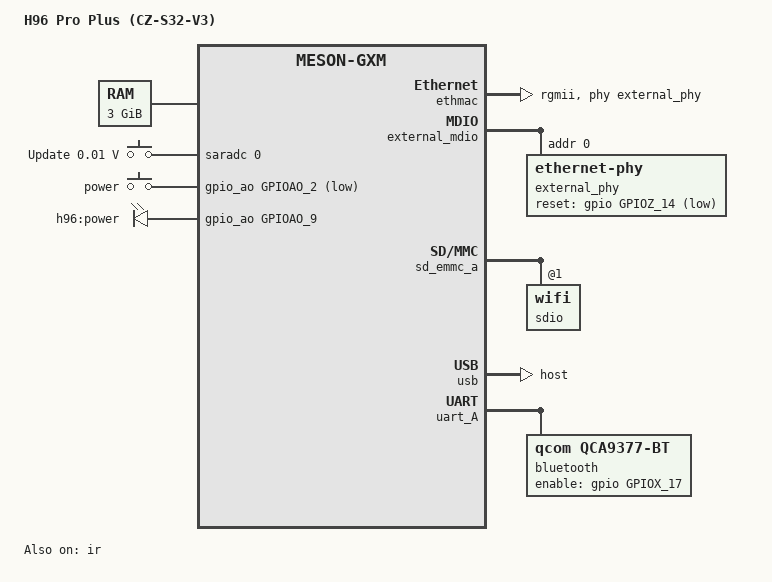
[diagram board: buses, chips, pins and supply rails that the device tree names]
// SPDX-License-Identifier: (GPL-2.0+ OR MIT)
/*
 * H96 Pro Plus (плата CZ-S32-V3), Amlogic S912 / Meson GXM
 *
 * ⚠️ ЧЕРНОВИК — Milestone 3. НЕ ПРОВЕРЕН НА ЖЕЛЕЗЕ.
 *
 * ┌────────────────────────────────────────────────────────────────────────┐
 * │ ⚠️ БАЗА — q200, НЕ q201, хотя vendor называет плату «q201»              │
 * │                                                                        │
 * │ Multi-DTB установленной прошивки помечает варианты как gxm/q201/{1,2,3}g│
 * │ — казалось бы, брать за основу надо mainline meson-gxm-q201.dts. Но там│
 * │ прямым текстом сказано «Q201 has only internal PHY port», и узел такой:│
 * │                                                                        │
 * │     &ethmac { phy-mode = "rmii"; phy-handle = <&internal_phy>; };      │
 * │                                                                        │
 * │ То есть mainline-овский q201 — это плата со ВНУТРЕННИМ 100-мегабитным  │
 * │ PHY. У нас же физически распаян внешний RTL8211F (видно на фото).      │
 * │                                                                        │
 * │ ✅ ЗАКРЫТО 2026-08-16 по DTB, вынутому из раздела `reserved` самого     │
 * │ устройства: во всех трёх вариантах DDR стоит                           │
 * │     phy-mode = "rgmii";  internal_phy = <0x00>;                        │
 * │     pinctrl-names = "external_eth_pins";                               │
 * │ Имя «q201» у vendor — просто ярлык платформы, к разводке PHY отношения │
 * │ не имеющий.                                                            │
 * │                                                                        │
 * │ Возьми мы q201 за основу — получили бы 100 Мбит вместо гигабита.       │
 * │ Поэтому база именно q200, и это осознанный выбор, а не невнимательность│
 * └────────────────────────────────────────────────────────────────────────┘
 *
 * Совпадения с q200, подтверждённые по фотографиям (см. docs/hardware.md)
 * и по стоковому DTS:
 *
 *   - Ethernet PHY Realtek RTL8211F  → в q200.dts уже настроен именно он
 *   - Wi-Fi по SDIO на sd_emmc_a     → у нас модуль Fn-Link 8223A-SR
 *   - eMMC на sd_emmc_c              → Samsung KLMAG2GEAC-B001, 16 GB
 *   - SD-карта на sd_emmc_b          → полноразмерный слот есть
 *   - HDMI, CVBS (AV), S/PDIF, IR    → все разъёмы на плате присутствуют
 *
 * КАЖДОЕ значение ниже, помеченное TODO, обязано быть сверено со стоковым
 * DTS (dt/stock.dts), снятым с устройства на Milestone 1. Мастер-инструкция
 * §5 прямо запрещает сочинять device tree до разбора оригинального.
 */

/dts-v1/;

#include <dt-bindings/input/input.h>

#include "meson-gxm.dtsi"
#include "meson-gx-p23x-q20x.dtsi"

/ {
	compatible = "h96,pro-plus", "amlogic,s912", "amlogic,meson-gxm";
	model = "H96 Pro Plus (CZ-S32-V3)";

	/* h96 05.09.2026: глубокий сон-в-RAM (meson_gx_pm драйвер) */
	meson_gx_pm: pm {
		compatible = "amlogic,meson-gx-pm";
	};

	/*
	 * ✅ ПОДТВЕРЖДЕНО стоковым DTS (2026-08-16, до подключения устройства).
	 *
	 * Прошивка Франкенштейн содержит multi-DTB с тремя вариантами —
	 * gxm/q201/1g, /2g и /3g. В варианте 3g:
	 *
	 *     linux,usable-memory = <0x00 0x100000 0x00 0xbff00000>;
	 *
	 * то есть 0xbff00000 = 3 070 MiB, начиная с 1 MiB. Тогда это выглядело
	 * подтверждением наклейки «CZ 3G+16G» — но загрузка (M3) показала
	 * обратное: реальной памяти 2 GiB, «3g»-вариант просто лежит в
	 * multi-DTB про запас. Исходное ТЗ с его «2 GB» было право.
	 *
	 * Здесь оставлен полный диапазон 0xC0000000: mainline рассчитывает
	 * зарезервированные области сам через reserved-memory, а сток отрезает
	 * первый мегабайт вручную.
	 *
	 * ⚠️ Поправка по факту загрузки (M3): физически на плате 2 GiB — и сток,
	 * и наше ядро видят Memory: .../2092032K. Вариант «3g» в прошивке
	 * Франкенштейна описывает другую комплектацию платы. Узел не трогаем:
	 * U-Boot при загрузке подставляет реальный размер сам.
	 */
	memory@0 {
		device_type = "memory";
		reg = <0x0 0x0 0x0 0xC0000000>;	/* U-Boot урежет до реальных 2 GiB */
	};

	/*
	 * CMA 512 MiB вместо 256 MiB из meson-gx.dtsi.
	 *
	 * Прогон 12 (2026-08-17): с 256 MiB 4K-декодирование падало на
	 * STREAMON(CAPTURE) — `dma alloc of size 8323072 failed` (DPB 16+2
	 * буферов NV12M по 12,45 MiB + рабочие буферы + фрагментация).
	 * 384 MiB хватило 8-битному 4K (прогоны 13-24), но 10-битный HEVC
	 * 4K (сжатые опорные кадры FBC поверх NV12M) снова упёрся (прогон
	 * 24: WARN на streamon при «свободных» 366 МБ — фрагментация).
	 * 512 MiB: CMA-страницы переиспользуются movable-аллокациями, для
	 * Android это не мёртвый груз.
	 */
	reserved-memory {
		/*
		 * ramoops — предсмертный лог ядра без UART. Регион ТОТ ЖЕ, что
		 * резервирует сток (0x7300000, 1 MiB, сразу за secmon_alt):
		 * после паники нашего ядра сток монтирует /sys/fs/pstore и
		 * отдаёт console-ramoops прошлой сессии. Размеры записей — как
		 * у стока (record 0x8000, console 0x4000), иначе регион
		 * прочитается мусором.
		 */
		ramoops@7300000 {
			compatible = "ramoops";
			reg = <0x0 0x7300000 0x0 0x100000>;
			record-size = <0x8000>;
			console-size = <0x4000>;
			pmsg-size = <0x4000>;
		};

		linux,cma {
			compatible = "shared-dma-pool";
			reusable;
			size = <0x0 0x40000000>;
			alignment = <0x0 0x400000>;
			linux,cma-default;
		};
	};

	/*
	 * Кнопка на плате (жёлтая тактовая у AV/DC). На Q200 она заведена через
	 * SARADC как "Update" — вход в upgrade mode.
	 * TODO(M1): проверить, та же ли схема у нас, и не спрятана ли кнопка
	 * внутри AV-джека (типично для H96 Pro+, см. docs/recovery.md §3).
	 */
	adc-keys {
		compatible = "adc-keys";
		io-channels = <&saradc 0>;
		io-channel-names = "buttons";
		keyup-threshold-microvolt = <1710000>;

		button-function {
			label = "Update";
			linux,code = <KEY_VENDOR>;
			press-threshold-microvolt = <10000>;
		};
	};

	/*
	 * Кнопка питания. Взята из meson-gxm-q200.dts как есть — наша плата
	 * производная от Q200, поэтому GPIOAO_2 наиболее вероятен.
	 *
	 * TODO(M1): подтвердить по stock.dts. Если у нас кнопка одна и она
	 * спрятана в AV-джеке (типично для H96 Pro+, см. docs/recovery.md §3),
	 * то она может быть той же самой, что и adc-keys "Update" выше —
	 * тогда этот узел лишний и его надо убрать.
	 *
	 * Без него не работает ТЗ §23 (short/long press, wake, sleep, shutdown),
	 * поэтому лучше иметь с пометкой, чем не иметь вовсе.
	 */
	gpio-keys-polled {
		compatible = "gpio-keys-polled";
		poll-interval = <100>;

		button {
			label = "power";
			linux,code = <KEY_POWER>;
			gpios = <&gpio_ao GPIOAO_2 GPIO_ACTIVE_LOW>;	/* TODO(M1) */
		};
	};

	/*
	 * Светодиод питания — ✅ ВЗЯТ ИЗ СТОКОВОГО DTS, не угадан.
	 *
	 * В стоке он описан двумя вендорскими узлами:
	 *
	 *     sysled {
	 *         compatible = "amlogic, sysled";
	 *         led_gpio = <0x32 0x09 0x00>;
	 *         led_active_low = <0x01>;
	 *     };
	 *     ledlight { led_name = "power_led"; led_type = "R&G"; }
	 *
	 * phandle 0x32 разрешается в `ao-bank@c1108030`, то есть банк AO,
	 * индекс 9 → GPIOAO_9. В mainline это последний вывод банка
	 * (BANK("AO", GPIOAO_0, GPIOAO_9, ...) в pinctrl-meson-gxl.c),
	 * так что значение допустимое.
	 *
	 * ⚠️ Зачем он нужен здесь и сейчас: UART не подключён, а первая
	 * попытка загрузки (2026-08-16) не дала НИКАКИХ признаков того,
	 * загрузилось ядро или нет. Я тогда принял мигание светодиода за
	 * работу своего init — ошибочно, потому что узла leds в этом файле
	 * не было вовсе и /sys/class/leds был пуст.
	 *
	 * С этим узлом светодиод становится настоящим каналом обратной связи:
	 * init гасит его при старте и зажигает после записи отчёта.
	 *
	 * led_type = "R&G" в стоке означает двухцветный индикатор; вероятно
	 * GPIOAO_9 переключает цвет, а не включает питание светодиода.
	 * Проверяется наблюдением при первой удачной загрузке.
	 */
	leds {
		compatible = "gpio-leds";

		led-power {
			label = "h96:power";
			/*
			 * ⚠️ ACTIVE_HIGH — подобрано ЭКСПЕРИМЕНТОМ, вопреки стоку.
			 * Вендорский sysled говорит led_active_low = <1>, но с
			 * ACTIVE_LOW и brightness=1 светодиод на первой удачной
			 * загрузке (2026-08-16, попытка 4) остался ТЁМНЫМ.
			 * Либо вендорская семантика поля обратная, либо GPIOAO_9
			 * переключает цвет двухцветного R&G-индикатора.
			 * Проверяется следующей загрузкой.
			 */
			gpios = <&gpio_ao GPIOAO_9 GPIO_ACTIVE_HIGH>;
			default-state = "on";
		};
	};
};

/*
 * Ethernet — ✅ СВЕРЕНО СО СТОКОВЫМ DTS, совпало полностью.
 *
 * PHY подтверждён по фотографии как RTL8211F, рядом гигабитные magnetics
 * Pulse H5007NL.
 *
 * ✅ 2026-08-16: источником стал не разбор чужого образа, а САМО УСТРОЙСТВО —
 * multi-DTB вынут из раздела `reserved` (offset 0x400000, контейнер AML_
 * версии 2, три варианта DDR), см. out/dtb-from-reserved/. Проверены все
 * три варианта, 1g/2g/3g: во ВСЕХ `phy-mode = "rgmii"` и `internal_phy = <0>`.
 * Загружается вариант 2g. Узел описан так:
 *
 *     compatible   = "amlogic, gxbb-rgmii-dwmac";
 *     phy-mode     = "rgmii";
 *     internal_phy = <0x00>;              ← внешний PHY, как у нас
 *     rst_pin-gpios = <&gpio 0x0e 0x00>;  ← GPIO 14 банка Z = GPIOZ_14
 *     mc_val       = <0x1621>;
 *     cali_val     = <0x20000>;
 *
 * Что это даёт:
 *
 *  1. `rst_pin-gpios` = GPIOZ_14 — ровно то, что стоит в mainline
 *     meson-gxm-q200.dts. Совпадение точное.
 *
 *  2. `mc_val = 0x1621` — это содержимое регистра PRG_ETH0, куда vendor
 *     пишет задержки напрямую. Разбор: биты [6:5] = 1, а драйвер
 *     dwmac-meson8b кладёт туда `tx-delay-ns / 2`. Значит tx-delay-ns = 2 —
 *     опять же ровно как в mainline q200.dts.
 *
 * То есть блок ниже, взятый из q200, подтверждён вендорским DTS по обоим
 * параметрам, на которых обычно и ломается гигабит у Amlogic + RTL8211F.
 *
 * ⚠️ Линия прерывания MAC_INTR в стоковом DTS не описана — vendor-драйвер
 * её не использует. Значение из q200 оставлено как есть; если линк будет
 * подниматься, но трафик не пойдёт, проверять в первую очередь именно её.
 */
&ethmac {
	pinctrl-0 = <&eth_pins>;
	pinctrl-names = "default";

	phy-handle = <&external_phy>;
	amlogic,tx-delay-ns = <2>;	/* ✅ = mc_val 0x1621, биты [6:5] */
	phy-mode = "rgmii";		/* ✅ сток: phy-mode = "rgmii" */
};

&external_mdio {
	external_phy: ethernet-phy@0 {
		/* Realtek RTL8211F (0x001cc916) */
		reg = <0>;
		max-speed = <1000>;

		reset-assert-us = <10000>;
		reset-deassert-us = <80000>;
		reset-gpios = <&gpio GPIOZ_14 GPIO_ACTIVE_LOW>;	/* ✅ сток: rst_pin-gpios 0x0e */

		interrupt-parent = <&gpio_intc>;
		/* MAC_INTR на GPIOZ_15 — в стоке не описан, значение из q200 */
		interrupts = <25 IRQ_TYPE_LEVEL_LOW>;
	};
};

/*
 * Wi-Fi / Bluetooth — Fn-Link 8223A-SR по SDIO.
 *
 * ⚠️ Chipset НЕ ОПРЕДЕЛЁН. Узел ниже только объявляет наличие устройства на
 * шине; конкретный compatible добавляется ПОСЛЕ того, как с устройства снят
 * SDIO vendor/device ID (scripts/collect, файл sdio-ids.txt).
 *
 * Подбирать драйвер по названию модуля запрещено: Fn-Link — сборщик модулей,
 * один и тот же номер встречается с разной начинкой.
 * См. docs/hardware.md §5 и docs/feasibility.md §6.
 */
&sd_emmc_a {
	sdio: wifi@1 {
		reg = <1>;
		/* TODO(M1): compatible по SDIO ID */
	};
};

/*
 * ── Что берётся из meson-gx-p23x-q20x.dtsi без изменений ────────────────
 *
 * Проверено: этот dtsi уже включает всё, что нам нужно, и включает как
 * "okay" — то есть отдельно поднимать не требуется.
 *
 *   &ir        IR-приёмник (remote_input_ao_pins)
 *              ⚠️ Важно: это опровергает сводку linux-meson.com, где
 *              "Infrared Decoder" помечен как неподдерживаемый. Для
 *              GXM-плат IR в mainline включён. Проверить на M8.
 *   &hdmi_tx   HDMI + &cec_AO (CEC)
 *   &aiu       аудио, &acodec — кодек
 *   spdif-dit  S/PDIF — у нас оптический TOSLINK на плате есть
 *   &cvbs_vdac_port  композит (жёлтый AV-джек)
 *   &sd_emmc_b SD-карта, cd-gpios = CARD_6
 *   &sd_emmc_c eMMC, bus-width 8
 *   &usb       USB
 *   &uart_AO   отладочная консоль — пятаки G/T/R, см. docs/uart.md
 *   &saradc    АЦП для кнопки
 *
 * ── Чего в этом файле ПОКА НЕТ и почему ─────────────────────────────────
 *
 *   Вентилятор     ✅ вопрос закрыт: в стоковом DTS нет ни gpio-fan, ни
 *                  pwm-fan. Прошивка вентилятором не управляет — он либо
 *                  запитан постоянно, либо на линии, которой vendor не
 *                  управляет. Узел не добавляем.
 *
 *   CPU/GPU OPP    берутся из meson-gxm.dtsi. Вендорские значения известны
 *                  (GPU до 666 МГц, есть заготовка на 800; CPU разогнан до
 *                  2016 МГц) — см. docs/tuning-baseline.md. Менять только
 *                  на M11, по замерам, а не наугад (ТЗ §9).
 *
 *   Thermal        ⚠️ у vendor критический порог выставлен на 260 °C, то
 *                  есть аварийное отключение фактически отключено. В нашей
 *                  сборке нужен реальный порог ~100–105 °C.
 *                  Подробности — docs/tuning-baseline.md §3.
 *
 *   MAC-адреса     ⚠️ хранятся НЕ в прошивке, а в отдельном key-хранилище
 *                  (efuse): ключи mac / mac_bt / mac_wifi / usid.
 *                  Обязательно сохранить при backup на M2, иначе устройство
 *                  получит случайные адреса. docs/tuning-baseline.md §6.
 *
 *   SATA-разъём    на плате есть (docs/hardware.md §7a), но у S912 нет
 *                  нативного SATA. Пока не ясно, что это — узел не пишем.
 */

/*
 * USB — режим host, как у TV-боксов в mainline (x96-max, odroid-c2).
 *
 * p23x-q20x.dtsi ставит dr_mode = "otg", и на первой загрузке (2026-08-17)
 * это дало картину:
 *
 *   dwc2 c9100000.usb: dwc2_core_reset: HANG! Soft Reset timeout   ← OTG мёртв
 *   hub 1-3:1.0: USB hub found                                     ← хост ЖИВ
 *
 * Хост-сторона (dwc3/xhci) работала сразу — бортовой хаб GL850G
 * перечислился. Ломался только dwc2, контроллер режима «устройство»:
 * в otg-мультиплексе его PHY не получает тактирование, и probe виснет
 * на программном сбросе.
 *
 * Медиаприставке peripheral-режим не нужен (adb по сети, прошивка через
 * BootROM, который живёт ниже любого DT). Поэтому: глю — host, dwc2 —
 * выключен, чтобы не висел в логе с ошибкой -16.
 */
&usb {
	dr_mode = "host";
};

&dwc2 {
	status = "disabled";
};

/*
 * Bluetooth: QCA9377 (тот же чип, что WiFi на sd_emmc_a) сидит на uart_A.
 * Разведка 01.09.2026 по стоковому DTS (dt/stock-frank-3g.dts):
 *   bt-dev.gpio_reset = <банк periphs, 96, 0>  ->  96 = GPIOX_17
 *   (нумерация совпадает с mainline meson-gxl-gpio.h; проверка: wifi
 *    power_on_pin 85 = GPIOX_6 и interrupt 86 = GPIOX_7 точь-в-точь
 *    референс p212, из которого p23x-q20x.dtsi и растёт).
 * 32 кГц для сна берётся из wifi32k (pwm-clock в p23x-q20x.dtsi).
 * Прошивки: /vendor/firmware/qca/rampatch_XXXXXXXX.bin + nvm_XXXXXXXX.bin (версию ROM чип сообщает сам; в /vendor/firmware/qca лежат все 4 пары 00130300/00130302/00230302/00440302)
 * (firmware_class.path=/vendor/firmware в cmdline).
 * Драйвер hci_qca (serdev) сам грузит прошивку и создаёт hci0; HAL
 * android.hardware.bluetooth-service.default находит его через mgmt.
 */
&uart_A {
	status = "okay";
	pinctrl-0 = <&uart_a_pins>, <&uart_a_cts_rts_pins>;
	pinctrl-names = "default";
	uart-has-rtscts;

	bluetooth {
		compatible = "qcom,qca9377-bt";
		enable-gpios = <&gpio GPIOX_17 GPIO_ACTIVE_HIGH>;
		max-speed = <2000000>;
		clocks = <&wifi32k>;
		clock-names = "susclk";
	};
};


/* codex 2026-09-07: rc-core NEC (RAW) decoding, not the GXM HW-mode from 0016.
 * Bypasses kernel mouse/power interception (0016/0019); mouse -> h96mouse (uinput).
 */
&ir {
	compatible = "amlogic,meson-gxbb-ir";
	status = "okay";
};
